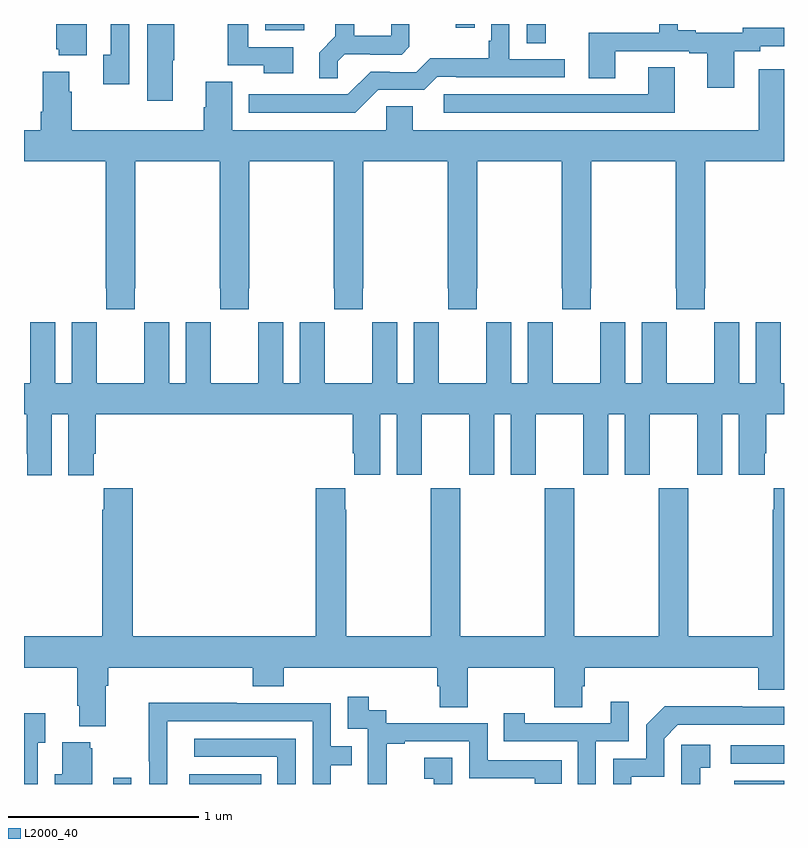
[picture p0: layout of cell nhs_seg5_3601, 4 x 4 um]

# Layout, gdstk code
import gdstk
lib = gdstk.Library(unit=1e-6, precision=1e-09)
def R(c, l, rs):  # rectangles x0, y0, x1, y1
    for r in rs: c.add(gdstk.rectangle(r[:2], r[2:], *l))
def P(c, l, *ps):  # polygons
    for p in ps: c.add(gdstk.Polygon(p, *l))
L2000_40 = (2000, 40)

nhs_seg5_3601 = lib.new_cell('nhs_seg5_3601')
R(nhs_seg5_3601, L2000_40, [(323.469,870.799,323.565,870.832), (323.87,870.799,324.248,870.85), (326.738,870.799,327,870.817), (326.721,870.906,327,871.002), (325.647,874.699,325.746,874.799), (324.269,874.766,324.475,874.799), (325.272,874.779,325.373,874.799)])
P(nhs_seg5_3601, L2000_40, [(323.329,874.799),(323.171,874.799),(323.171,874.665),(323.183,874.665),(323.183,874.634),(323.329,874.634)],
  [(326.737,874.656),(326.874,874.656),(326.874,874.683),(327,874.683),(327,874.779),(326.784,874.779),(326.784,874.752),(326.536,874.752),(326.536,874.765),(326.44,874.765),(326.44,874.799),(326.343,874.799),(326.343,874.752),(325.973,874.752),(325.973,874.513),(326.113,874.513),(326.113,874.656),(326.501,874.656),(326.501,874.644),(326.597,874.644),(326.597,874.464),(326.737,874.464)],
  [(324.651,874.604),(324.688,874.641),(324.822,874.641),(324.822,874.638),(324.987,874.638),(325.028,874.679),(325.028,874.799),(324.934,874.799),(324.934,874.738),(324.737,874.738),(324.737,874.799),(324.639,874.799),(324.639,874.735),(324.553,874.649),(324.553,874.513),(324.651,874.513)],
  [(324.418,874.677),(324.18,874.677),(324.18,874.799),(324.072,874.799),(324.072,874.581),(324.262,874.581),(324.262,874.541),(324.418,874.541)],
  [(324.864,874.452),(325.107,874.452),(325.176,874.521),(325.276,874.521),(325.276,874.518),(325.846,874.518),(325.846,874.614),(325.554,874.614),(325.554,874.799),(325.458,874.799),(325.458,874.711),(325.446,874.711),(325.446,874.618),(325.138,874.618),(325.065,874.545),(324.926,874.545),(324.926,874.548),(324.825,874.548),(324.705,874.428),(324.182,874.428),(324.182,874.332),(324.744,874.332)],
  [(323.782,874.607),(323.79,874.607),(323.79,874.799),(323.648,874.799),(323.648,874.395),(323.782,874.395)],
  [(323.553,874.799),(323.457,874.799),(323.457,874.638),(323.417,874.638),(323.417,874.482),(323.553,874.482)],
  [(326.425,874.571),(326.285,874.571),(326.285,874.428),(325.209,874.428),(325.209,874.332),(326.425,874.332)],
  [(323.583,873.409),(323.586,873.409),(323.586,874.076),(324.031,874.076),(324.031,873.409),(324.033,873.409),(324.033,873.297),(324.183,873.297),(324.183,873.409),(324.186,873.409),(324.186,874.076),(324.631,874.076),(324.631,873.409),(324.633,873.409),(324.633,873.297),(324.783,873.297),(324.783,873.409),(324.786,873.409),(324.786,874.076),(325.231,874.076),(325.231,873.409),(325.233,873.409),(325.233,873.297),(325.383,873.297),(325.383,873.409),(325.386,873.409),(325.386,874.076),(325.831,874.076),(325.831,873.409),(325.833,873.409),(325.833,873.297),(325.983,873.297),(325.983,873.409),(325.986,873.409),(325.986,874.076),(326.431,874.076),(326.431,873.409),(326.433,873.409),(326.433,873.297),(326.583,873.297),(326.583,873.409),(326.586,873.409),(326.586,874.076),(327,874.076),(327,874.561),(326.867,874.561),(326.867,874.24),(325.045,874.24),(325.045,874.367),(324.906,874.367),(324.906,874.24),(324.097,874.24),(324.097,874.496),(323.957,874.496),(323.957,874.362),(323.945,874.362),(323.945,874.24),(323.252,874.24),(323.252,874.442),(323.239,874.442),(323.239,874.549),(323.099,874.549),(323.099,874.336),(323.087,874.336),(323.087,874.24),(323,874.24),(323,874.076),(323.431,874.076),(323.431,873.409),(323.433,873.409),(323.433,873.297),(323.583,873.297)],
  [(324.731,872.539),(324.737,872.539),(324.737,872.427),(324.874,872.427),(324.874,872.744),(324.962,872.744),(324.962,872.427),(325.093,872.427),(325.093,872.744),(325.343,872.744),(325.343,872.427),(325.474,872.427),(325.474,872.744),(325.562,872.744),(325.562,872.427),(325.693,872.427),(325.693,872.744),(325.943,872.744),(325.943,872.427),(326.074,872.427),(326.074,872.744),(326.162,872.744),(326.162,872.427),(326.293,872.427),(326.293,872.744),(326.543,872.744),(326.543,872.427),(326.674,872.427),(326.674,872.744),(326.762,872.744),(326.762,872.427),(326.899,872.427),(326.899,872.539),(326.906,872.539),(326.906,872.744),(327,872.744),(327,872.908),(326.983,872.908),(326.983,873.116),(326.982,873.116),(326.982,873.229),(326.852,873.229),(326.852,872.908),(326.764,872.908),(326.764,873.229),(326.634,873.229),(326.634,873.116),(326.633,873.116),(326.633,872.908),(326.383,872.908),(326.383,873.116),(326.382,873.116),(326.382,873.229),(326.252,873.229),(326.252,872.908),(326.164,872.908),(326.164,873.229),(326.034,873.229),(326.034,873.116),(326.033,873.116),(326.033,872.908),(325.783,872.908),(325.783,873.116),(325.782,873.116),(325.782,873.229),(325.652,873.229),(325.652,872.908),(325.564,872.908),(325.564,873.229),(325.434,873.229),(325.434,873.116),(325.433,873.116),(325.433,872.908),(325.183,872.908),(325.183,873.116),(325.182,873.116),(325.182,873.229),(325.052,873.229),(325.052,872.908),(324.964,872.908),(324.964,873.229),(324.834,873.229),(324.834,873.116),(324.833,873.116),(324.833,872.908),(324.583,872.908),(324.583,873.116),(324.582,873.116),(324.582,873.229),(324.452,873.229),(324.452,872.908),(324.364,872.908),(324.364,873.229),(324.234,873.229),(324.234,873.116),(324.233,873.116),(324.233,872.908),(323.983,872.908),(323.983,873.116),(323.982,873.116),(323.982,873.229),(323.852,873.229),(323.852,872.908),(323.764,872.908),(323.764,873.229),(323.634,873.229),(323.634,873.116),(323.633,873.116),(323.633,872.908),(323.383,872.908),(323.383,873.116),(323.382,873.116),(323.382,873.229),(323.252,873.229),(323.252,872.908),(323.164,872.908),(323.164,873.229),(323.034,873.229),(323.034,873.116),(323.033,873.116),(323.033,872.908),(323,872.908),(323,872.744),(323.015,872.744),(323.015,872.536),(323.016,872.536),(323.016,872.424),(323.146,872.424),(323.146,872.744),(323.234,872.744),(323.234,872.424),(323.368,872.424),(323.368,872.536),(323.378,872.536),(323.378,872.744),(324.731,872.744)],
  [(323.431,871.316),(323.444,871.316),(323.444,871.412),(324.203,871.412),(324.203,871.313),(324.368,871.313),(324.368,871.412),(325.175,871.412),(325.175,871.314),(325.187,871.314),(325.187,871.204),(325.335,871.204),(325.335,871.412),(325.792,871.412),(325.792,871.204),(325.939,871.204),(325.939,871.314),(325.952,871.314),(325.952,871.412),(326.864,871.412),(326.864,871.295),(327,871.295),(327,872.356),(326.945,872.356),(326.945,872.243),(326.941,872.243),(326.941,871.576),(326.496,871.576),(326.496,872.356),(326.341,872.356),(326.341,871.576),(325.896,871.576),(325.896,872.356),(325.741,872.356),(325.741,871.576),(325.296,871.576),(325.296,872.356),(325.141,872.356),(325.141,871.576),(324.696,871.576),(324.696,872.243),(324.691,872.243),(324.691,872.356),(324.536,872.356),(324.536,871.576),(323.573,871.576),(323.573,872.356),(323.419,872.356),(323.419,872.243),(323.413,872.243),(323.413,871.576),(323,871.576),(323,871.412),(323.279,871.412),(323.279,871.21),(323.291,871.21),(323.291,871.103),(323.431,871.103)],
  [(324.908,871.011),(325.003,871.011),(325.003,871.023),(325.344,871.023),(325.344,870.828),(325.689,870.828),(325.689,870.801),(325.829,870.801),(325.829,870.924),(325.44,870.924),(325.44,871.119),(324.906,871.119),(324.906,871.188),(324.814,871.188),(324.814,871.258),(324.705,871.258),(324.705,871.089),(324.81,871.089),(324.81,870.86),(324.809,870.86),(324.809,870.799),(324.908,870.799)],
  [(326.01,871.023),(326.184,871.023),(326.184,871.231),(326.087,871.231),(326.087,871.119),(325.636,871.119),(325.636,871.171),(325.525,871.171),(325.525,871.023),(325.914,871.023),(325.914,870.799),(326.01,870.799)],
  [(323.754,871.128),(324.519,871.128),(324.519,870.799),(324.615,870.799),(324.615,870.898),(324.725,870.898),(324.725,870.999),(324.615,870.999),(324.615,871.224),(324.119,871.224),(324.119,871.226),(323.656,871.226),(323.656,870.919),(323.658,870.919),(323.658,870.799),(323.754,870.799)],
  [(326.197,870.837),(326.37,870.837),(326.37,871.038),(326.442,871.11),(327,871.11),(327,871.206),(326.78,871.206),(326.78,871.208),(326.372,871.208),(326.274,871.11),(326.274,870.933),(326.1,870.933),(326.1,870.799),(326.197,870.799)],
  [(323.073,871.015),(323.113,871.015),(323.113,871.171),(323,871.171),(323,870.799),(323.073,870.799)],
  [(324.429,871.038),(323.895,871.038),(323.895,870.942),(324.333,870.942),(324.333,870.799),(324.429,870.799)],
  [(323.359,870.987),(323.348,870.987),(323.348,871.018),(323.201,871.018),(323.201,870.85),(323.162,870.85),(323.162,870.799),(323.359,870.799)],
  [(326.558,870.885),(326.611,870.885),(326.611,871.006),(326.46,871.006),(326.46,870.799),(326.558,870.799)],
  [(325.254,870.937),(325.107,870.937),(325.107,870.827),(325.156,870.827),(325.156,870.799),(325.254,870.799)])

lib.write_gds('nhs_seg5_3601.gds')
